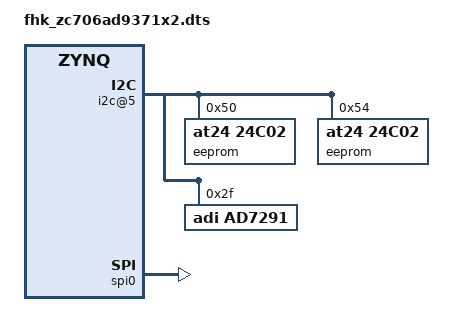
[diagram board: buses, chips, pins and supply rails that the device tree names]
/dts-v1/;

/include/ "zynq-zc706.dtsi"
/include/ "zynq-zc706-adv7511.dtsi"

&i2c_mux {
	i2c@5 { /* HPC IIC */
		#address-cells = <1>;
		#size-cells = <0>;
		reg = <5>;

		eeprom@50 {
			compatible = "at24,24c02";
			reg = <0x50>;
		};

		eeprom@54 {
			compatible = "at24,24c02";
			reg = <0x54>;
		};

		ad7291@2f {
			compatible = "adi,ad7291";
			reg = <0x2f>;
		};
	};
};

&spi0 {
	status = "okay";
};

#include "fhk_zc706ad9371n1.dtsi"
#include "fhk_zc706ad9371n2.dtsi"

// ad9371_dac_fifo_bypass_s 60
// ad9528_reset_b,       // 59
// ad9528_sysref_req,    // 58
// ad9371_tx1_enable,    // 57
// ad9371_tx2_enable,    // 56
// ad9371_rx1_enable,    // 55
// ad9371_rx2_enable,    // 54
// ad9371_test,          // 53
// ad9371_reset_b,       // 52
// ad9371_gpint,         // 51
// ad9371_gpio_00,       // 50
// ad9371_gpio_01,       // 49
// ad9371_gpio_02,       // 48
// ad9371_gpio_03,       // 47
// ad9371_gpio_04,       // 46
// ad9371_gpio_05,       // 45
// ad9371_gpio_06,       // 44
// ad9371_gpio_07,       // 43
// ad9371_gpio_15,       // 42
// ad9371_gpio_08,       // 41
// ad9371_gpio_09,       // 40
// ad9371_gpio_10,       // 39
// ad9371_gpio_11,       // 38
// ad9371_gpio_12,       // 37
// ad9371_gpio_14,       // 36
// ad9371_gpio_13,       // 35
// ad9371_gpio_17,       // 34
// ad9371_gpio_16,       // 33
// ad9371_gpio_18}));    // 32 + 54

&trx0_ad9371 {
	reset-gpios = <&gpio0 106 0>;
	test-gpios = <&gpio0 107 0>;
	sysref_req-gpios = <&gpio0 112 0>;
	rx2_enable-gpios = <&gpio0 108 0>;
	rx1_enable-gpios = <&gpio0 109 0>;
	tx2_enable-gpios = <&gpio0 110 0>;
	tx1_enable-gpios = <&gpio0 111 0>;
};

&clk0_ad9528 {
	reset-gpios = <&gpio0 113 0>;
};

&axi_ad9371_core_tx {
	plddrbypass-gpios = <&gpio0 114 0>;
};
